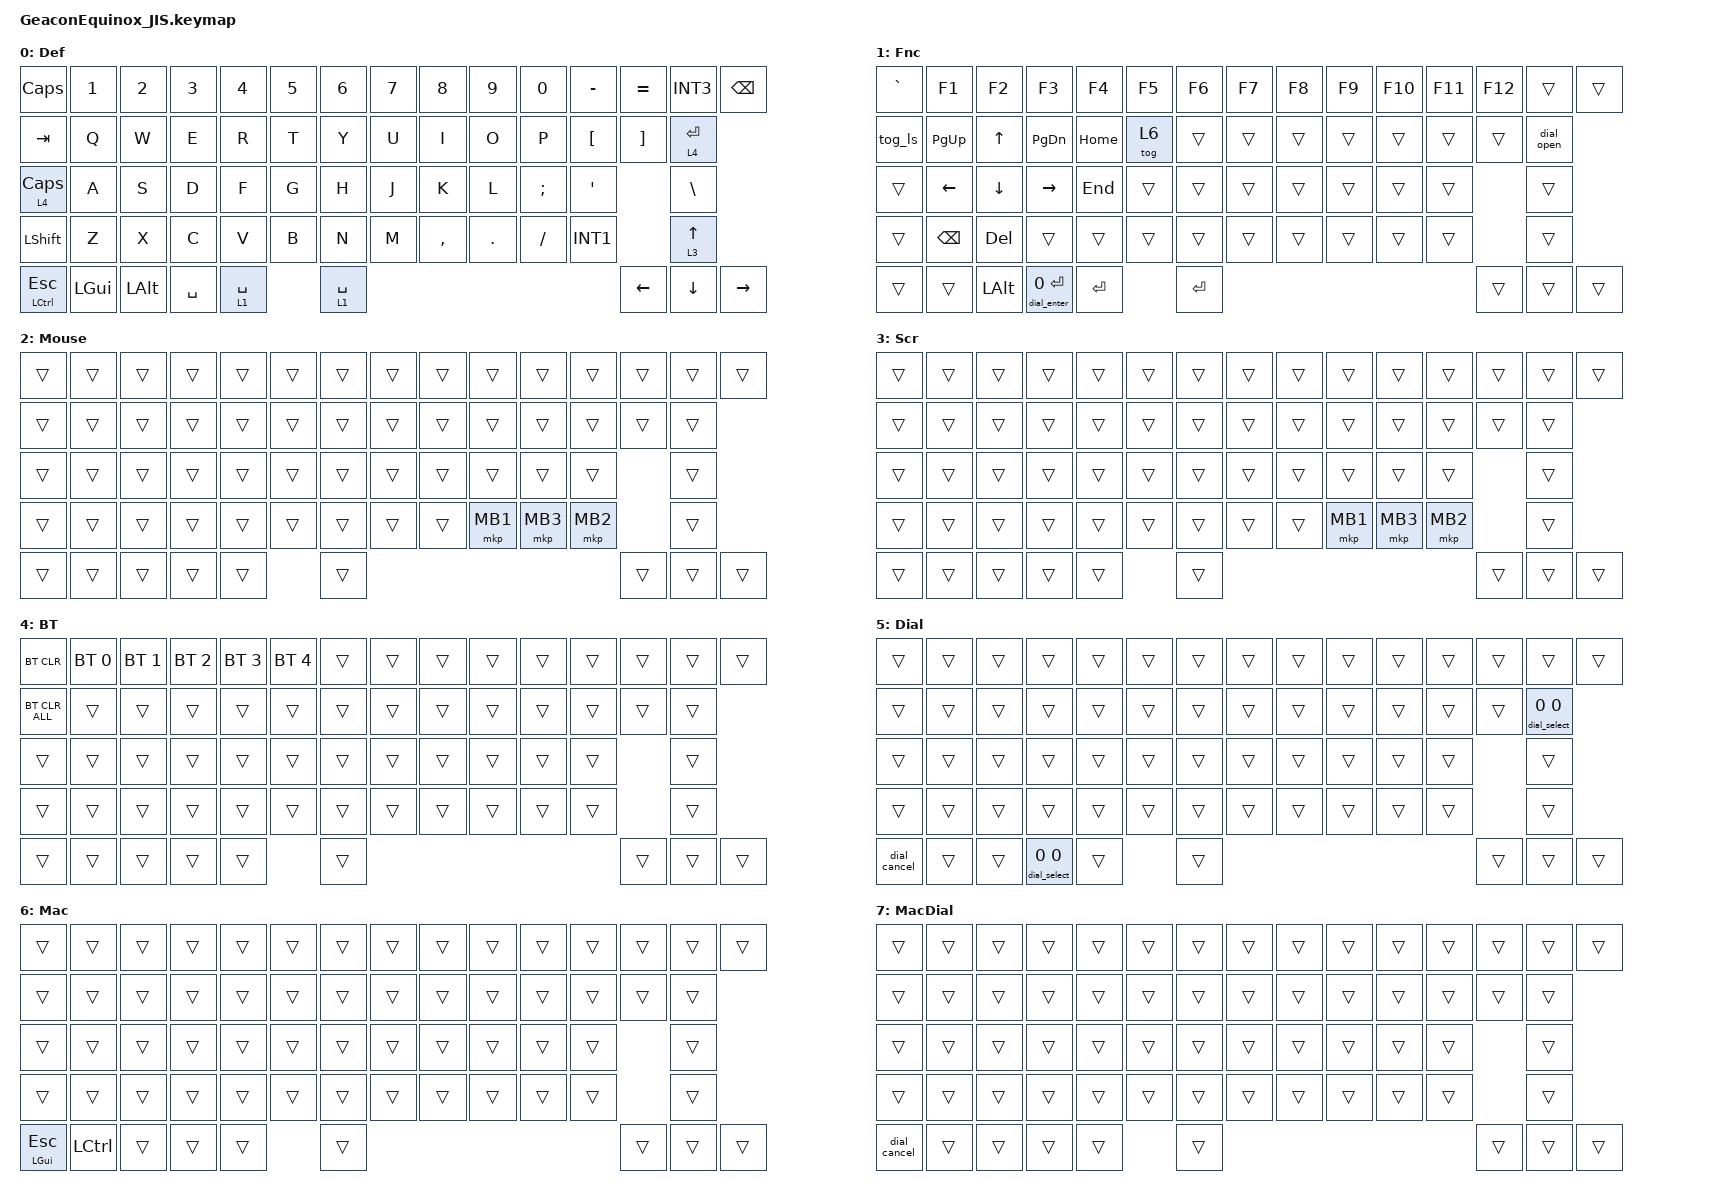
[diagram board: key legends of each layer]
#include <behaviors.dtsi>
#include <behaviors/hires_dial.dtsi>
#include <dt-bindings/zmk/keys.h>
#include <dt-bindings/zmk/pointing.h>
#include <dt-bindings/zmk/bt.h>
#include "layout_shift.dtsi"

#define MOUSE 2
#define SCROLL 3
#define BT 4

&mt {
	flavor = "tap-preferred";
};

/ {
    behaviors {
        // Keep the original key_press behavior for ZMK core components
        original_key_press: original_key_press {
            compatible = "zmk,behavior-key-press";
            #binding-cells = <1>;
            label = "KEY_PRESS";
        };

        // Override the existing &kp behavior to use our custom implementation
        kp: key_press {
            compatible = "zmk,behavior-layout-shift-key-press";
            #binding-cells = <1>;
            #ifdef EQUINOX_NEMU_LINK
            label = "EQUINOX_KEY_PRESS";
#else
            label = "LAYOUT_SHIFT_KEY_PRESS";
#endif
        };
    };
};

/ {
	keymap {
		compatible = "zmk,keymap";
		default_layer {
			display-name="Def";
			bindings = <
			&kp CAPS       &kp N1    &kp N2     &kp N3     &kp N4     &kp N5       &kp N6    &kp N7     &kp N8     &kp N9     &kp N0    &kp MINUS  &kp EQUAL      &kp INT3  &kp BKSP
			&kp TAB        &kp Q     &kp W      &kp E      &kp R      &kp T        &kp Y     &kp U      &kp I      &kp O      &kp P     &kp LBKT   &kp RBKT       &lt 4 ENTER
			&lt 4 CAPS     &kp A     &kp S      &kp D      &kp F      &kp G        &kp H     &kp J      &kp K      &kp L      &kp SEMI  &kp SQT                   &kp BSLH
			&kp LSHFT      &kp Z     &kp X      &kp C      &kp V      &kp B        &kp N     &kp M      &kp COMMA  &kp DOT    &kp FSLH  &kp INT1                  &lt 3 UP
			&mt LCTL ESC   &kp LGUI  &kp LALT   &kp SPACE  &lt 1 SPACE             &lt 1 SPACE                                                           &kp LEFT &kp DOWN &kp RIGHT
			>;
		};

		function_layer {
			display-name="Fnc";
			bindings = <
			&kp GRAVE     &kp F1     &kp F2     &kp F3     &kp F4     &kp F5       &kp F6    &kp F7     &kp F8     &kp F9     &kp F10   &kp F11    &kp F12         &trans   &trans
			&tog_ls       &kp PG_UP  &kp UP     &kp PG_DN  &kp HOME   &tog 6       &trans    &trans     &trans     &trans     &trans    &trans     &trans          &dial_open
			&trans        &kp LEFT   &kp DOWN   &kp RIGHT  &kp END    &trans       &trans    &trans     &trans     &trans     &trans    &trans                     &trans
			&trans        &kp BKSP   &kp DEL    &trans     &trans     &trans       &trans    &trans     &trans     &trans     &trans    &trans                     &trans
			&trans        &trans     &kp LALT   &dial_enter 0 ENTER  &kp ENTER               &kp ENTER                                                              &trans   &trans   &trans
			>;
		};

		mouse_layer {
			display-name="Mouse";
			bindings = <
			&trans        &trans     &trans     &trans     &trans     &trans       &trans    &trans     &trans     &trans     &trans    &trans     &trans          &trans   &trans
			&trans        &trans     &trans     &trans     &trans     &trans       &trans    &trans     &trans     &trans     &trans    &trans     &trans          &trans
			&trans        &trans     &trans     &trans     &trans     &trans       &trans    &trans     &trans     &trans     &trans    &trans                     &trans
			&trans        &trans     &trans     &trans     &trans     &trans       &trans    &trans     &trans     &mkp MB1   &mkp MB3  &mkp MB2                   &trans
			&trans        &trans     &trans                &trans     &trans       &trans                                                                 &trans   &trans   &trans
			>;
		};

		scroll_layer {
			display-name="Scr";
			bindings = <
			&trans        &trans     &trans     &trans     &trans     &trans       &trans    &trans     &trans     &trans     &trans    &trans     &trans          &trans   &trans
			&trans        &trans     &trans     &trans     &trans     &trans       &trans    &trans     &trans     &trans     &trans    &trans     &trans          &trans
			&trans        &trans     &trans     &trans     &trans     &trans       &trans    &trans     &trans     &trans     &trans    &trans                     &trans
			&trans        &trans     &trans     &trans     &trans     &trans       &trans    &trans     &trans     &mkp MB1   &mkp MB3  &mkp MB2                   &trans
			&trans        &trans     &trans                &trans     &trans       &trans                                                                 &trans   &trans   &trans
			>;
		};

		bt_layer {
			display-name="BT";
			bindings = <
			&bt BT_CLR     &bt BT_SEL 0 &bt BT_SEL 1 &bt BT_SEL 2 &bt BT_SEL 3 &bt BT_SEL 4  &trans   &trans   &trans   &trans   &trans  &trans    &trans          &trans   &trans
			&bt BT_CLR_ALL &trans       &trans       &trans       &trans       &trans        &trans   &trans   &trans   &trans   &trans  &trans    &trans          &trans
			&trans         &trans       &trans       &trans       &trans       &trans        &trans   &trans   &trans   &trans   &trans  &trans                    &trans
			&trans         &trans       &trans       &trans       &trans       &trans        &trans   &trans   &trans   &trans   &trans  &trans                    &trans
			&trans         &trans       &trans       &trans       &trans                     &trans                                                       &trans   &trans   &trans
			>;
		};
	};
};

/ {
    keymap {
        dial_layer {
            display-name = "Dial";
            bindings = <
                &trans &trans &trans &trans &trans &trans &trans &trans &trans &trans &trans &trans &trans &trans &trans
                &trans &trans &trans &trans &trans &trans &trans &trans &trans &trans &trans &trans &trans &dial_select 0 0
                &trans &trans &trans &trans &trans &trans &trans &trans &trans &trans &trans &trans &trans
                &trans &trans &trans &trans &trans &trans &trans &trans &trans &trans &trans &trans &trans
                &dial_cancel &trans &trans &dial_select 0 0 &trans &trans &trans &trans &trans
            >;
        };
    };
};

/* Layer 6 only overrides the two modifier positions. PAT routing falls through. */
/ {
    keymap {
        mac_layer {
            display-name = "Mac";
            bindings = <
                &trans &trans &trans &trans &trans &trans &trans &trans &trans &trans &trans &trans &trans &trans &trans
                &trans &trans &trans &trans &trans &trans &trans &trans &trans &trans &trans &trans &trans &trans
                &trans &trans &trans &trans &trans &trans &trans &trans &trans &trans &trans &trans &trans
                &trans &trans &trans &trans &trans &trans &trans &trans &trans &trans &trans &trans &trans
                &mt LGUI ESC &kp LCTL &trans &trans &trans &trans &trans &trans &trans
            >;
        };

        /* Preserve Dial's Esc/exit binding when Mac is enabled. */
        mac_dial_layer {
            display-name = "MacDial";
            bindings = <
                &trans &trans &trans &trans &trans &trans &trans &trans &trans &trans &trans &trans &trans &trans &trans
                &trans &trans &trans &trans &trans &trans &trans &trans &trans &trans &trans &trans &trans &trans
                &trans &trans &trans &trans &trans &trans &trans &trans &trans &trans &trans &trans &trans
                &trans &trans &trans &trans &trans &trans &trans &trans &trans &trans &trans &trans &trans
                &dial_cancel &trans &trans &trans &trans &trans &trans &trans &trans
            >;
        };
    };

    conditional_layers {
        compatible = "zmk,conditional-layers";
        mac_dial {
            if-layers = <5 6>;
            then-layer = <7>;
        };
    };
};

#include "equinox_dial.dtsi"
